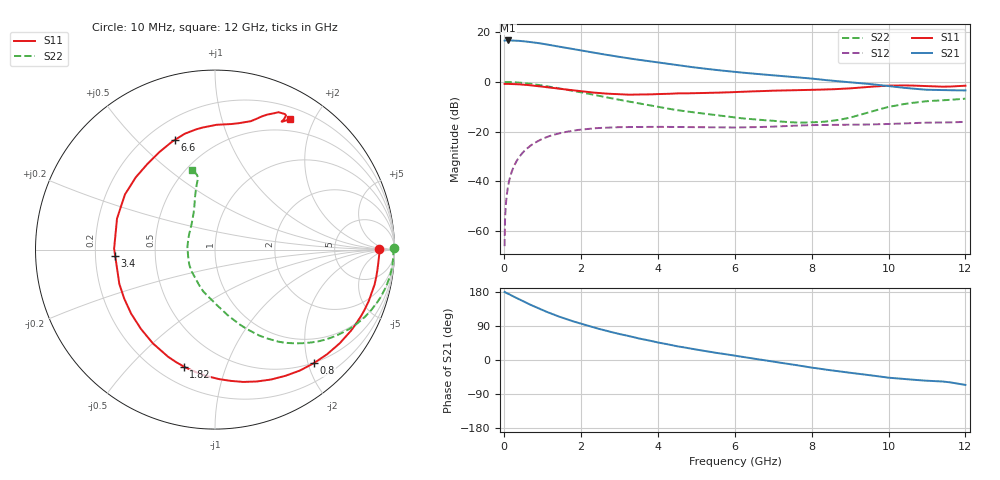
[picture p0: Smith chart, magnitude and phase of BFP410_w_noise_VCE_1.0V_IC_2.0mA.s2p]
! Infineon Technologies  Discrete & RF Semiconductors
! BFP410
! VCE =  1.0 V,  IC =  2.0 mA
! Common Emitter S-Parameters:  Nov 2015
# GHz  S  MA  R  50
!  f  S11  S21  S12  S22
! GHz  MAG  ANG  MAG  ANG  MAG  ANG  MAG  ANG
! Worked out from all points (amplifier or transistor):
!   243 points, 10 MHz to 12 GHz, reference 50 ohm
!   highest |S21| = 16.7 dB at 100 MHz (marker M1)
!   |S21| within 3 dB of that: start of sweep to 1.622 GHz
!   unconditionally stable (mu >= 1): 4.085 GHz to end of sweep
!   at 240 MHz: K = 0.04, MSG = 25.5 dB, |S12| = -34.3 dB
!   at 1.84 GHz: K = 0.39, MSG = 16.3 dB, |S12| = -19.5 dB
!   at 12 GHz: K = 1.16, MAG = 3.9 dB, |S12| = -16.1 dB
!   lowest NFmin = 0.82 dB at 900 MHz
!   S11 on the Smith chart (normalised r, x): 10 MHz: 22, +1; 800 MHz: 0.49, -2.10; 1.82 GHz: 0.30, -0.72; 3.4 GHz: 0.28, -0.03; 6.6 GHz: 0.31, +0.65; 12 GHz: 0.34, +1.68
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0.01  0.9125 0.3  6.758 179.6  0.0005 112.1  0.9953 0.5
0.02  0.9165 -0.9  6.809 179.1  0.0016 92.3  0.9925 -0.3
0.035  0.9151 -2.0  6.795 178.0  0.0028 86.6  0.9935 -1.0
0.1  0.9125 -6.2  6.818 175.0  0.008 86.5  0.9936 -3.5
0.22  0.908 -13.5  6.789 168.7  0.0176 82.3  0.9871 -7.9
0.4  0.8938 -24.6  6.682 159.6  0.0316 76.1  0.9671 -14.2
0.6  0.8692 -36.9  6.455 149.5  0.0464 69.2  0.9344 -21.0
0.8  0.8392 -48.9  6.168 140.3  0.06 62.6  0.8933 -27.4
1  0.8054 -60.8  5.851 131.5  0.0721 56.3  0.8458 -33.3
1.22  0.7672 -73.4  5.489 122.4  0.0837 49.8  0.7925 -39.3
1.6  0.7058 -93.9  4.861 108.3  0.0988 39.7  0.7014 -48.1
1.82  0.6744 -104.9  4.525 101.2  0.1055 34.9  0.655 -52.5
2.02  0.6483 -114.6  4.252 95.0  0.1106 30.7  0.614 -56.1
2.6  0.588 -142.6  3.572 78.5  0.1202 19.7  0.5013 -65.9
3.4  0.5573 -176.5  2.859 59.5  0.1242 8.9  0.3835 -77.6
4.1  0.5731 159.6  2.401 44.4  0.125 1.9  0.306 -88.6
5  0.5976 137.6  1.937 27.3  0.123 -4.5  0.2412 -105.9
6.1  0.6291 118.0  1.565 9.8  0.1217 -8.6  0.1886 -127.3
6.6  0.6506 110.2  1.443 2.0  0.1238 -9.8  0.1746 -140.3
8.2  0.6992 85.9  1.124 -22.8  0.136 -17.4  0.1561 165.2
10.2  0.8463 64.0  0.794 -48.4  0.1448 -25.3  0.3364 108.8
12  0.8399 60.0  0.676 -65.8  0.1574 -36.1  0.4603 105.9
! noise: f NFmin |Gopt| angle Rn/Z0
0.45  0.86  0.5  7  0.29
0.9  0.82  0.48  21  0.27
1.8  1.05  0.37  55  0.23
2.4  1.09  0.36  63  0.19
5.5  2.24  0.36  -145  0.21
10  3.98  0.7  -56  2.38
